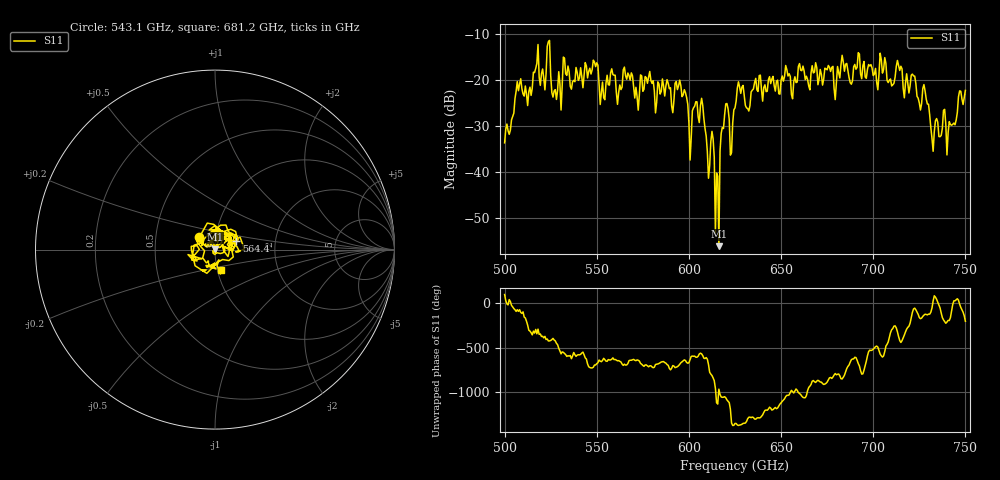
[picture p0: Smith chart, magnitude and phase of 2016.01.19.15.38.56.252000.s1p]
!Created with skrf (http://scikit-rf.org).
# GHz S RI R 50.0
!freq ReS11 ImS11
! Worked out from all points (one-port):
!   401 points, 500 GHz to 750 GHz, reference 50 ohm
!   lowest |S11| = -56.2 dB at 616.2 GHz (marker M1), VSWR 1.00, Z = 49.9 + j0.14 ohm
!   |S11| at or under -10 dB: start of sweep to end of sweep
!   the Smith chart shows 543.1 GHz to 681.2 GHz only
!   S11 on the Smith chart (normalised r, x): 543.1 GHz: 0.83, +0.12; 564.4 GHz: 1.26, +0.13; 681.2 GHz: 1.04, -0.24
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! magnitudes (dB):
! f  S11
! 500 GHz  -33.7
! 507.5 GHz  -22.4
! 516.9 GHz  -17.5
! 520.6 GHz  -17.7
! 523.8 GHz  -11.7
! 526.9 GHz  -22.5
! 531.2 GHz  -21.2
! 543.1 GHz  -19.1
! 562.5 GHz  -21.1
! 564.4 GHz  -17.8
! 593.8 GHz  -22.1
! 600.6 GHz  -37.5
! 607.5 GHz  -25.6
! 610 GHz  -35.7
! 612.5 GHz  -31.2
! 615 GHz  -40.3
! 616.2 GHz  -56.2
! 619.4 GHz  -27.6
! 623.1 GHz  -35.9
! 625 GHz  -26.1
! 656.2 GHz  -24.1
! 681.2 GHz  -18.4
! 687.5 GHz  -20.6
! 705 GHz  -18.6
! 718.8 GHz  -20.9
! 728.1 GHz  -22.4
! 732.5 GHz  -35.6
! 750 GHz  -22.3
